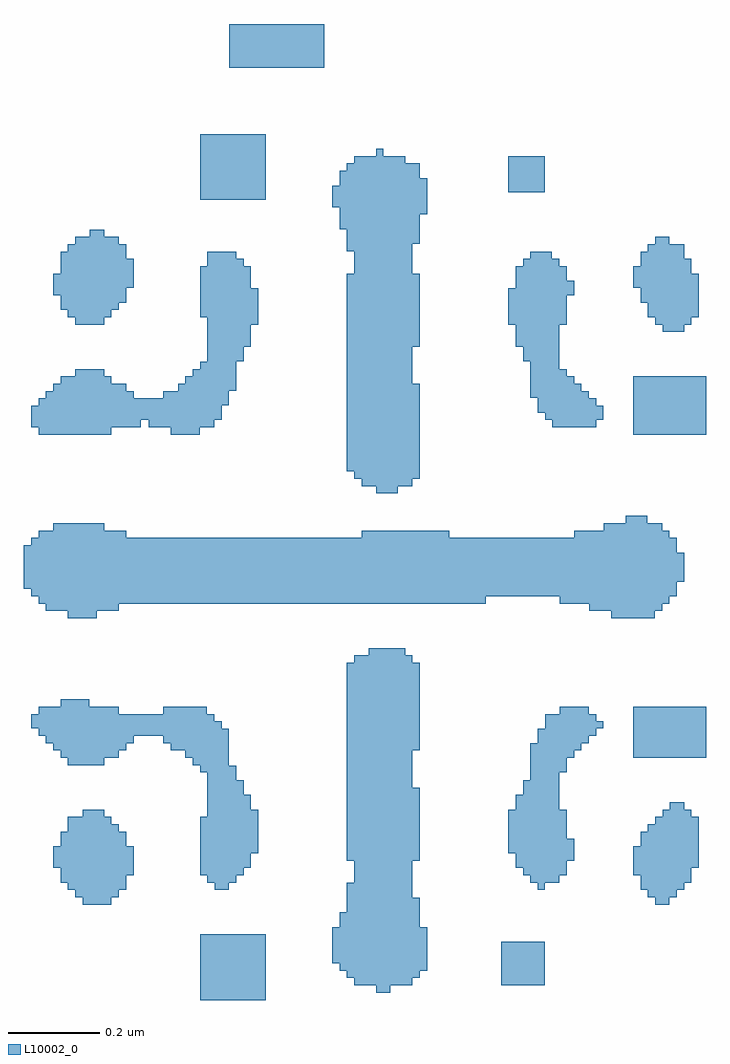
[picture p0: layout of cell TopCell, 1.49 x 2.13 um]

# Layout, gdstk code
import gdstk
lib = gdstk.Library(unit=1e-6, precision=1e-09)
def R(c, l, rs):  # rectangles x0, y0, x1, y1
    for r in rs: c.add(gdstk.rectangle(r[:2], r[2:], *l))
L10002_0 = (10002, 0)

topcell = lib.new_cell('TopCell')
R(topcell, L10002_0, [(1.488,1.072,1.631,1.215), (1.872,1.088,1.903,1.839), (1.824,1.104,1.872,1.823), (1.903,1.104,1.935,1.839), (1.935,1.104,1.951,1.823), (2.144,1.104,2.239,1.199), (1.808,1.12,1.824,1.327), (1.951,1.12,1.967,1.295), (1.792,1.136,1.808,1.263), (1.967,1.136,1.983,1.231), (1.776,1.152,1.792,1.231), (1.232,1.28,1.279,1.487), (1.279,1.28,1.295,1.471), (2.48,1.28,2.511,1.471), (1.216,1.296,1.232,1.471), (1.295,1.296,1.311,1.455), (2.464,1.296,2.48,1.455), (2.511,1.296,2.527,1.487), (1.2,1.312,1.216,1.471), (1.311,1.312,1.327,1.439), (1.52,1.312,1.535,1.679), (1.535,1.312,1.551,1.663), (2.224,1.312,2.239,1.663), (2.448,1.312,2.464,1.439), (2.527,1.312,2.543,1.503), (1.184,1.328,1.2,1.439), (1.504,1.328,1.519,1.695), (1.519,1.328,1.52,1.679), (1.551,1.328,1.567,1.583), (2.208,1.328,2.224,1.631), (2.239,1.328,2.271,1.663), (2.543,1.328,2.559,1.487), (1.327,1.344,1.343,1.407), (1.488,1.344,1.504,1.471), (1.567,1.344,1.583,1.551), (2.192,1.344,2.208,1.551), (2.271,1.344,2.287,1.487), (2.432,1.344,2.448,1.407), (1.168,1.36,1.184,1.407), (1.583,1.36,1.599,1.519), (2.176,1.36,2.192,1.519), (2.559,1.36,2.575,1.471), (1.808,1.376,1.824,1.807), (1.951,1.376,1.967,1.535), (2.287,1.376,2.303,1.423), (1.599,1.392,1.615,1.487), (2.16,1.392,2.176,1.487), (2.496,1.471,2.511,1.487), (2.512,1.487,2.527,1.503), (1.488,1.568,1.503,1.711), (1.503,1.568,1.504,1.695), (2.271,1.568,2.287,1.695), (1.2,1.584,1.247,1.727), (1.247,1.584,1.279,1.711), (1.472,1.584,1.488,1.711), (1.184,1.6,1.2,1.727), (1.279,1.6,1.311,1.711), (1.456,1.6,1.472,1.711), (2.287,1.6,2.303,1.711), (2.432,1.6,2.591,1.711), (1.168,1.616,1.184,1.711), (1.311,1.616,1.327,1.695), (1.424,1.616,1.456,1.711), (1.951,1.616,1.967,1.807), (2.303,1.616,2.319,1.711), (1.152,1.632,1.168,1.711), (1.327,1.632,1.343,1.695), (1.408,1.632,1.424,1.711), (2.319,1.632,2.335,1.711), (1.136,1.648,1.152,1.711), (1.343,1.648,1.408,1.695), (2.335,1.648,2.351,1.695), (2.24,1.663,2.271,1.695), (1.12,1.664,1.136,1.695), (2.351,1.664,2.367,1.679), (2.272,1.695,2.287,1.711), (1.856,1.823,1.872,1.839), (1.2,1.904,1.263,2.111), (2.384,1.904,2.479,2.111), (1.152,1.92,1.2,2.095), (1.263,1.92,1.279,2.111), (1.279,1.92,1.311,2.095), (2.336,1.92,2.384,2.095), (2.479,1.92,2.495,2.111), (1.136,1.936,1.152,2.095), (1.311,1.936,1.327,2.095), (1.327,1.936,2.111,2.079), (2.272,1.936,2.336,2.079), (2.495,1.936,2.511,2.095), (1.12,1.952,1.136,2.079), (2.111,1.952,2.272,2.079), (2.511,1.952,2.527,2.079), (1.104,1.968,1.12,2.063), (2.527,1.984,2.543,2.047), (1.84,2.079,2.031,2.095), (2.304,2.079,2.336,2.095), (1.168,2.095,1.2,2.111), (2.368,2.095,2.384,2.111), (2.416,2.111,2.463,2.127), (1.872,2.176,1.887,2.927), (1.887,2.176,1.919,2.911), (1.84,2.192,1.872,2.911), (1.919,2.192,1.935,2.911), (1.935,2.192,1.951,2.895), (1.824,2.208,1.84,2.911), (1.951,2.208,1.967,2.415), (1.808,2.224,1.824,2.655), (1.136,2.304,1.295,2.383), (1.424,2.304,1.487,2.399), (2.432,2.304,2.591,2.431), (1.12,2.32,1.136,2.367), (1.295,2.32,1.327,2.415), (1.327,2.32,1.343,2.399), (1.343,2.32,1.359,2.383), (1.376,2.32,1.424,2.383), (1.487,2.32,1.519,2.447), (2.256,2.32,2.271,2.687), (2.271,2.32,2.287,2.447), (2.287,2.32,2.303,2.431), (2.303,2.32,2.319,2.415), (2.319,2.32,2.335,2.399), (2.335,2.32,2.351,2.383), (1.359,2.336,1.376,2.383), (1.519,2.336,1.535,2.703), (2.24,2.336,2.255,2.703), (2.255,2.336,2.256,2.687), (2.351,2.336,2.367,2.367), (2.224,2.352,2.24,2.703), (1.535,2.368,1.551,2.703), (1.152,2.383,1.295,2.399), (1.408,2.383,1.424,2.399), (2.208,2.384,2.224,2.703), (1.168,2.399,1.295,2.415), (1.44,2.399,1.487,2.415), (1.551,2.4,1.567,2.703), (1.184,2.415,1.295,2.431), (1.456,2.415,1.487,2.431), (1.216,2.431,1.279,2.447), (1.472,2.431,1.487,2.447), (1.488,2.447,1.519,2.463), (1.504,2.463,1.519,2.703), (1.567,2.464,1.583,2.687), (2.192,2.464,2.208,2.687), (1.583,2.496,1.599,2.671), (1.951,2.496,1.967,2.655), (2.176,2.496,2.192,2.671), (2.496,2.528,2.511,2.735), (2.511,2.528,2.543,2.719), (1.216,2.544,1.279,2.735), (1.599,2.544,1.615,2.623), (2.16,2.544,2.176,2.623), (2.271,2.544,2.287,2.671), (2.48,2.544,2.496,2.735), (2.543,2.544,2.559,2.687), (1.2,2.56,1.216,2.719), (1.279,2.56,1.295,2.735), (1.488,2.56,1.504,2.671), (2.464,2.56,2.48,2.719), (2.559,2.56,2.575,2.655), (1.184,2.576,1.2,2.703), (1.295,2.576,1.311,2.735), (1.311,2.592,1.327,2.719), (2.448,2.592,2.464,2.703), (1.168,2.608,1.184,2.655), (2.287,2.608,2.303,2.639), (1.327,2.624,1.343,2.687), (2.432,2.624,2.448,2.671), (1.808,2.704,1.824,2.895), (1.951,2.72,1.967,2.895), (1.248,2.735,1.279,2.751), (1.792,2.752,1.808,2.879), (1.967,2.784,1.983,2.863), (1.776,2.8,1.792,2.847), (1.488,2.816,1.631,2.959), (2.16,2.832,2.239,2.911), (1.552,3.104,1.759,3.199)])

lib.write_gds('TopCell.gds')
